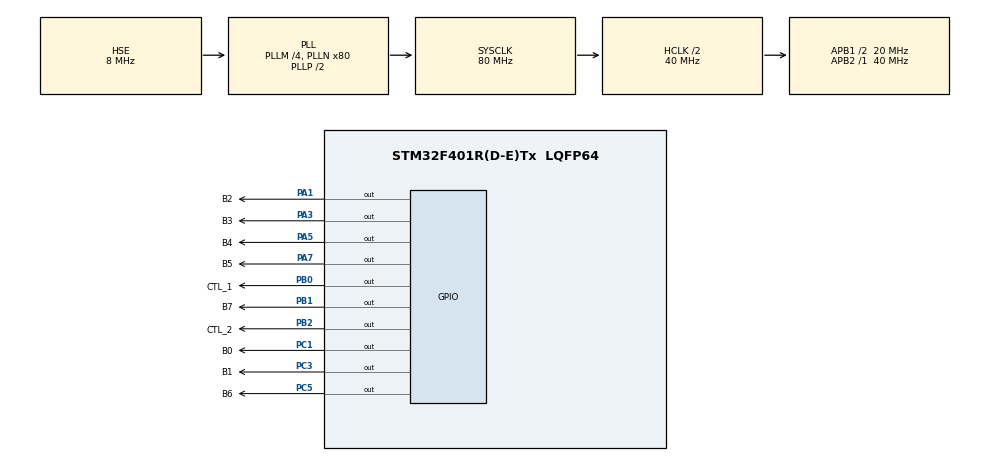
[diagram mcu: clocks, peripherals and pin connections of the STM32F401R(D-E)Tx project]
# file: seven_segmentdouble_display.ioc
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Mcu.Family=STM32F4
Mcu.Name=STM32F401R(D-E)Tx
Mcu.Package=LQFP64
NVIC.PriorityGroup=NVIC_PRIORITYGROUP_0
PA1.GPIO_Label=B2
PA1.Signal=GPIO_Output
PA13.Mode=Serial_Wire
PA13.Signal=SYS_JTMS-SWDIO
PA14.Mode=Serial_Wire
PA14.Signal=SYS_JTCK-SWCLK
PA3.GPIO_Label=B3
PA3.Signal=GPIO_Output
PA5.GPIO_Label=B4
PA5.Signal=GPIO_Output
PA7.GPIO_Label=B5
PA7.Signal=GPIO_Output
PB0.GPIO_Label=CTL_1
PB0.Signal=GPIO_Output
PB1.GPIO_Label=B7
PB1.Signal=GPIO_Output
PB2.GPIO_Label=CTL_2
PB2.Signal=GPIO_Output
PC1.GPIO_Label=B0
PC1.Signal=GPIO_Output
PC3.GPIO_Label=B1
PC3.Signal=GPIO_Output
PC5.GPIO_Label=B6
PC5.Signal=GPIO_Output
PH0\ -\ OSC_IN.Mode=HSE-External-Oscillator
PH0\ -\ OSC_IN.Signal=RCC_OSC_IN
PH1\ -\ OSC_OUT.Mode=HSE-External-Oscillator
PH1\ -\ OSC_OUT.Signal=RCC_OSC_OUT
ProjectManager.HeapSize=0x200
ProjectManager.StackSize=0x400
ProjectManager.TargetToolchain=STM32CubeIDE
RCC.48MHZClocksFreq_Value=22857142.85714286
RCC.AHBCLKDivider=RCC_SYSCLK_DIV2
RCC.AHBFreq_Value=40000000
RCC.APB1CLKDivider=RCC_HCLK_DIV2
RCC.APB1Freq_Value=20000000
RCC.APB1TimFreq_Value=40000000
RCC.APB2Freq_Value=40000000
RCC.APB2TimFreq_Value=40000000
RCC.CortexFreq_Value=40000000
RCC.HCLKFreq_Value=40000000
RCC.HSE_VALUE=8000000
RCC.HSI_VALUE=16000000
RCC.LSE_VALUE=32768
RCC.PLLM=4
RCC.PLLN=80
RCC.PLLQ=7
RCC.PLLSourceVirtual=RCC_PLLSOURCE_HSE
RCC.SYSCLKFreq_VALUE=80000000
RCC.SYSCLKSource=RCC_SYSCLKSOURCE_PLLCLK
RCC.VCOOutputFreq_Value=160000000
board=NUCLEO-F401RE

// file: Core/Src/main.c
/* USER CODE BEGIN Header */
/**
  ******************************************************************************
  * @file           : main.c
  * @brief          : Main program body
  ******************************************************************************
  * @attention
  *
  * Copyright (c) 2025 STMicroelectronics.
  * All rights reserved.
  *
  * This software is licensed under terms that can be found in the LICENSE file
  * in the root directory of this software component.
  * If no LICENSE file comes with this software, it is provided AS-IS.
  *
  ******************************************************************************
  */
/* USER CODE END Header */
#include "main.h"

/* USER CODE BEGIN PTD */
typedef union {
    struct {
        uint8_t b0 : 1;
        uint8_t b1 : 1;
        uint8_t b2 : 1;
        uint8_t b3 : 1;
        uint8_t b4 : 1;
        uint8_t b5 : 1;
        uint8_t b6 : 1;
        uint8_t b7 : 1;
    };
    char x;
} Tyedef_PinConfig;

/* USER CODE END PTD */

/* USER CODE BEGIN PV */
uint8_t Segment_HEX[] = {0x3F, 0x06, 0x5B, 0x4F, 0x66, 0x6D, 0x7D, 0x07, 0x7F, 0x6F};
uint8_t counter = 0;
uint8_t loop = 0;

/* USER CODE END PV */

void SystemClock_Config(void);
static void MX_GPIO_Init(void);

int main(void)
{

  /* MCU Configuration--------------------------------------------------------*/

  /* Reset of all peripherals, Initializes the Flash interface and the Systick. */
  HAL_Init();

  /* Configure the system clock */
  SystemClock_Config();

  /* Initialize all configured peripherals */
  MX_GPIO_Init();

  /* Infinite loop */
  /* USER CODE BEGIN WHILE */
  while (1)
  {
    Display (counter);
    loop ++;
       if (loop == 2)
	   {
	   counter ++;
	   if (counter == 100)
	       {
	       counter = 0;/* USER CODE END WHILE */
	       }

	       loop = 0;
	   }

  }
}

void SystemClock_Config(void)
{
  RCC_OscInitTypeDef RCC_OscInitStruct = {0};
  RCC_ClkInitTypeDef RCC_ClkInitStruct = {0};

  /** Configure the main internal regulator output voltage
  */
  __HAL_RCC_PWR_CLK_ENABLE();
  __HAL_PWR_VOLTAGESCALING_CONFIG(PWR_REGULATOR_VOLTAGE_SCALE2);

  /** Initializes the RCC Oscillators according to the specified parameters
  * in the RCC_OscInitTypeDef structure.
  */
  RCC_OscInitStruct.OscillatorType = RCC_OSCILLATORTYPE_HSE;
  RCC_OscInitStruct.HSEState = RCC_HSE_ON;
  RCC_OscInitStruct.PLL.PLLState = RCC_PLL_ON;
  RCC_OscInitStruct.PLL.PLLSource = RCC_PLLSOURCE_HSE;
  RCC_OscInitStruct.PLL.PLLM = 4;
  RCC_OscInitStruct.PLL.PLLN = 80;
  RCC_OscInitStruct.PLL.PLLP = RCC_PLLP_DIV2;
  RCC_OscInitStruct.PLL.PLLQ = 7;
  if (HAL_RCC_OscConfig(&RCC_OscInitStruct) != HAL_OK)
  {
    Error_Handler();
  }

  /** Initializes the CPU, AHB and APB buses clocks
  */
  RCC_ClkInitStruct.ClockType = RCC_CLOCKTYPE_HCLK|RCC_CLOCKTYPE_SYSCLK
                              |RCC_CLOCKTYPE_PCLK1|RCC_CLOCKTYPE_PCLK2;
  RCC_ClkInitStruct.SYSCLKSource = RCC_SYSCLKSOURCE_PLLCLK;
  RCC_ClkInitStruct.AHBCLKDivider = RCC_SYSCLK_DIV2;
  RCC_ClkInitStruct.APB1CLKDivider = RCC_HCLK_DIV2;
  RCC_ClkInitStruct.APB2CLKDivider = RCC_HCLK_DIV1;

  if (HAL_RCC_ClockConfig(&RCC_ClkInitStruct, FLASH_LATENCY_1) != HAL_OK)
  {
    Error_Handler();
  }
}

static void MX_GPIO_Init(void)
{
  GPIO_InitTypeDef GPIO_InitStruct = {0};

  /* GPIO Ports Clock Enable */
  __HAL_RCC_GPIOH_CLK_ENABLE();
  __HAL_RCC_GPIOC_CLK_ENABLE();
  __HAL_RCC_GPIOA_CLK_ENABLE();
  __HAL_RCC_GPIOB_CLK_ENABLE();

  /*Configure GPIO pin Output Level */
  HAL_GPIO_WritePin(GPIOC, B0_Pin|B1_Pin|B6_Pin, GPIO_PIN_RESET);

  /*Configure GPIO pin Output Level */
  HAL_GPIO_WritePin(GPIOA, B2_Pin|B3_Pin|B4_Pin|B5_Pin, GPIO_PIN_RESET);

  /*Configure GPIO pin Output Level */
  HAL_GPIO_WritePin(GPIOB, CTL_1_Pin|B7_Pin|CTL_2_Pin, GPIO_PIN_RESET);

  /*Configure GPIO pins : B0_Pin B1_Pin B6_Pin */
  GPIO_InitStruct.Pin = B0_Pin|B1_Pin|B6_Pin;
  GPIO_InitStruct.Mode = GPIO_MODE_OUTPUT_PP;
  GPIO_InitStruct.Pull = GPIO_NOPULL;
  GPIO_InitStruct.Speed = GPIO_SPEED_FREQ_LOW;
  HAL_GPIO_Init(GPIOC, &GPIO_InitStruct);

  /*Configure GPIO pins : B2_Pin B3_Pin B4_Pin B5_Pin */
  GPIO_InitStruct.Pin = B2_Pin|B3_Pin|B4_Pin|B5_Pin;
  GPIO_InitStruct.Mode = GPIO_MODE_OUTPUT_PP;
  GPIO_InitStruct.Pull = GPIO_NOPULL;
  GPIO_InitStruct.Speed = GPIO_SPEED_FREQ_LOW;
  HAL_GPIO_Init(GPIOA, &GPIO_InitStruct);

  /*Configure GPIO pins : CTL_1_Pin B7_Pin CTL_2_Pin */
  GPIO_InitStruct.Pin = CTL_1_Pin|B7_Pin|CTL_2_Pin;
  GPIO_InitStruct.Mode = GPIO_MODE_OUTPUT_PP;
  GPIO_InitStruct.Pull = GPIO_NOPULL;
  GPIO_InitStruct.Speed = GPIO_SPEED_FREQ_LOW;
  HAL_GPIO_Init(GPIOB, &GPIO_InitStruct);

}

/* USER CODE BEGIN 4 */
void Segment_DataWrite(char d)
{
    Tyedef_PinConfig y = (Tyedef_PinConfig)d;

    HAL_GPIO_WritePin(B0_GPIO_Port, B0_Pin, y.b0);
    HAL_GPIO_WritePin(B1_GPIO_Port, B1_Pin, y.b1);
    HAL_GPIO_WritePin(B2_GPIO_Port, B2_Pin, y.b2);
    HAL_GPIO_WritePin(B3_GPIO_Port, B3_Pin, y.b3);
    HAL_GPIO_WritePin(B4_GPIO_Port, B4_Pin, y.b4);
    HAL_GPIO_WritePin(B5_GPIO_Port, B5_Pin, y.b5);
    HAL_GPIO_WritePin(B6_GPIO_Port, B6_Pin, y.b6);
    HAL_GPIO_WritePin(B7_GPIO_Port, B7_Pin, y.b7);
}

void Display(uint8_t num)
{
	uint8_t ones= num%10;
	uint8_t tens =num/10;

	HAL_GPIO_WritePin(GPIOB,CTL_1_Pin,1);
	HAL_GPIO_WritePin(GPIOB,CTL_2_Pin,1);

	Segment_DataWrite(Segment_HEX[ones]);
	HAL_GPIO_WritePin(GPIOB,CTL_2_Pin,0);
	HAL_Delay(100);

	HAL_GPIO_WritePin(GPIOB,CTL_1_Pin,1);
	HAL_GPIO_WritePin(GPIOB,CTL_2_Pin,1);

	Segment_DataWrite(Segment_HEX[tens]);
	HAL_GPIO_WritePin(GPIOB,CTL_1_Pin,0);
	HAL_Delay(100);

	HAL_GPIO_WritePin(GPIOB,CTL_1_Pin,1);
	HAL_GPIO_WritePin(GPIOB,CTL_2_Pin,1);
}
/* USER CODE END 4 */

void Error_Handler(void)
{
  __disable_irq();
  while (1)
  {
  }
}
